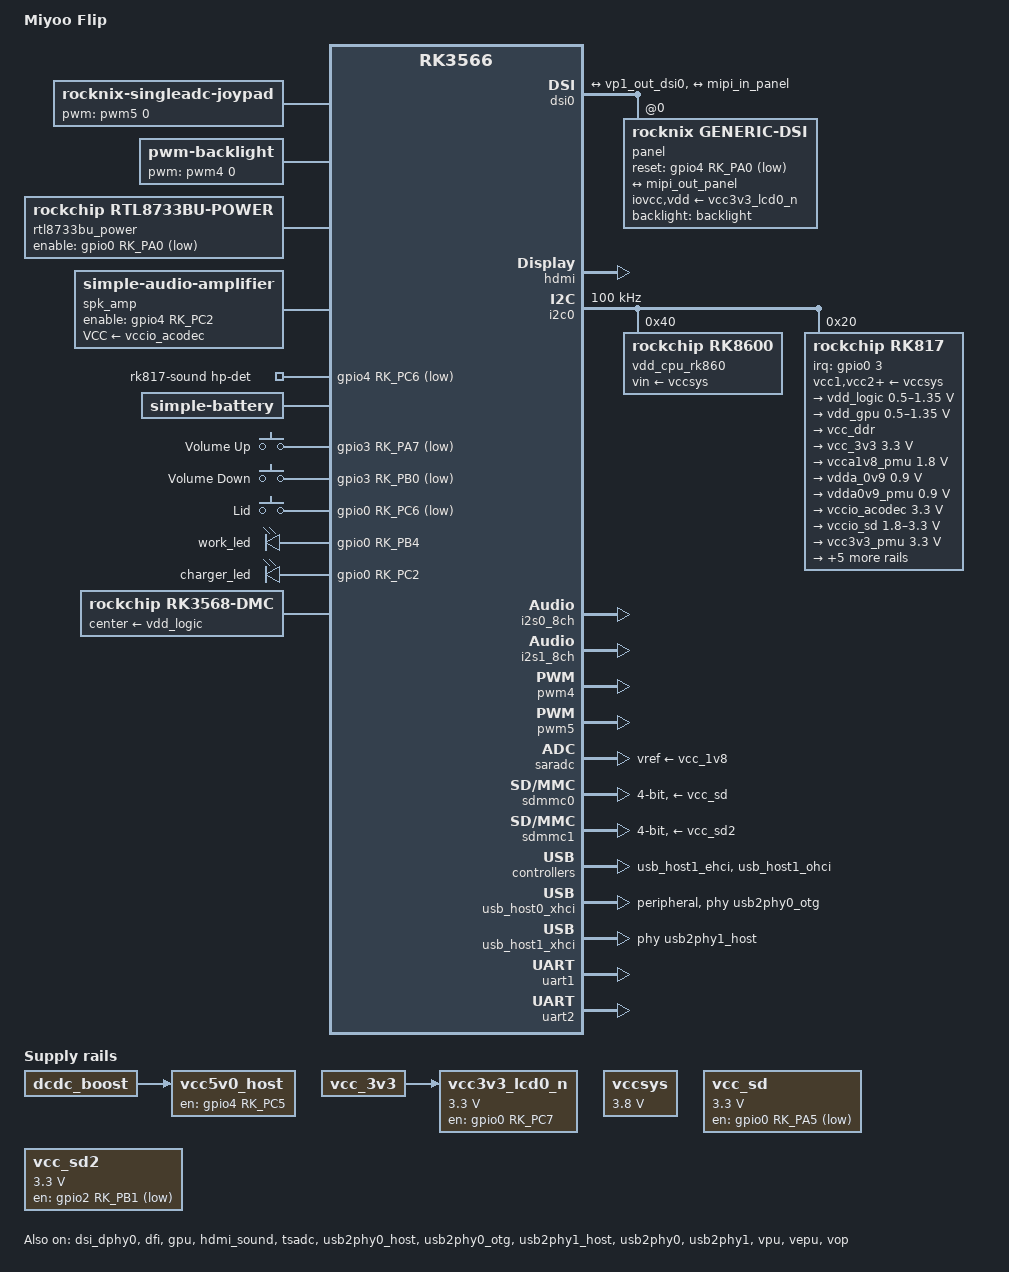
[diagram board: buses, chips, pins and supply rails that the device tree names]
// SPDX-License-Identifier: (GPL-2.0+ OR MIT)
/*
 * Copyright (c) 2020 Rockchip Electronics Co., Ltd.
 * Miyoo Flip (codename miyoo-355) - Mainline Linux device tree
 */
/dts-v1/;

#include <dt-bindings/gpio/gpio.h>
#include <dt-bindings/pinctrl/rockchip.h>
#include <dt-bindings/pwm/pwm.h>
#include <dt-bindings/input/input.h>
#include <dt-bindings/input/linux-event-codes.h>
#include <dt-bindings/interrupt-controller/arm-gic.h>
#include <dt-bindings/interrupt-controller/irq.h>
#include <dt-bindings/soc/rockchip,vop2.h>
#include <dt-bindings/suspend/rockchip-rk3568.h>
#include "rk3566.dtsi"

/ {
	model = "Miyoo Flip";
	chassis-type = "handset";
	compatible = "miyoo,flip", "rockchip,rk3566";

	chosen: chosen {
		stdout-path = "serial2:1500000n8";
	};

	reserved-memory {
		#address-cells = <2>;
		#size-cells = <2>;
		ranges;

		/*
		 * OP-TEE (BL32) resident memory — loaded by TF-A at boot and
		 * stays resident for PSCI deep-sleep suspend/resume.
		 *   TEEOS 2 MB + TA 12 MB + SHM 2 MB = 16 MB total
		 *   Load address 0x08400000 (from rkbin rk3568_bl32_v2.14.bin)
		 *
		 * Without this reservation the kernel overwrites OP-TEE,
		 * crashing immediately after "Starting kernel ...".
		 *
		 * The matching ELF conversion lives in
		 *   devices/RK3566/packages/u-boot-Specific/package.mk
		 */
		optee_reserved: optee@8400000 {
			reg = <0x0 0x08400000 0x0 0x01000000>;
			no-map;
		};
	};

	/* adc-keys DISABLED: volume buttons are on GPIO, not ADC.
	 * The adc-keys driver polls saradc ch0 which is floating on Miyoo Flip,
	 * causing phantom KEY_VOLUMEDOWN and triggering recovery_mode in init.
	 * See sydarn/distribution-rn DTS (reference) which omits adc-keys entirely. */
	adc_keys: adc-keys {
		compatible = "adc-keys";
		io-channels = <&saradc 0>;
		io-channel-names = "buttons";
		keyup-threshold-microvolt = <1800000>;
		poll-interval = <100>;
		status = "disabled";

		vol-up-key {
			label = "volume up";
			linux,code = <KEY_VOLUMEUP>;
			press-threshold-microvolt = <1750>;
		};

		vol-down-key {
			label = "volume down";
			linux,code = <KEY_VOLUMEDOWN>;
			press-threshold-microvolt = <297500>;
		};
	};

/* RetroArch joypad button ID reference:
#define RETRO_DEVICE_ID_JOYPAD_B        0
#define RETRO_DEVICE_ID_JOYPAD_Y        1
#define RETRO_DEVICE_ID_JOYPAD_SELECT   2
#define RETRO_DEVICE_ID_JOYPAD_START    3
#define RETRO_DEVICE_ID_JOYPAD_UP       4
#define RETRO_DEVICE_ID_JOYPAD_DOWN     5
#define RETRO_DEVICE_ID_JOYPAD_LEFT     6
#define RETRO_DEVICE_ID_JOYPAD_RIGHT    7
#define RETRO_DEVICE_ID_JOYPAD_A        8
#define RETRO_DEVICE_ID_JOYPAD_X        9
#define RETRO_DEVICE_ID_JOYPAD_L       10
#define RETRO_DEVICE_ID_JOYPAD_R       11
#define RETRO_DEVICE_ID_JOYPAD_L2      12
#define RETRO_DEVICE_ID_JOYPAD_R2      13
#define RETRO_DEVICE_ID_JOYPAD_L3      14
#define RETRO_DEVICE_ID_JOYPAD_R3      15
*/

	joypad: rocknix-singleadc-joypad {
		compatible = "rocknix-singleadc-joypad";

		joypad-name = "retrogame_joypad";
		joypad-product = <0x1101>;
		joypad-revision = <0x0100>;
		joypad-vendor = <0x484B>;

		status = "okay";

		/* use miyoo serial instead of adc */
		rocknix,use-miyoo-serial-joypad;

		/* rumble motor */
		pwms = <&pwm5 0 10000000 0>;
		pwm-names = "enable";
		rumble-boost-weak = <0x00>;
		rumble-boost-strong = <0x00>;

		/* gpio pincontrol setup */
		pinctrl-names = "default";
		pinctrl-0 = <&btn_pins_ctrl>;

		/* poll device interval (ms), adc read interval */
		poll-interval = <10>;

		sw1 {
			gpios = <&gpio3 RK_PA3 GPIO_ACTIVE_LOW>;
			label = "GPIO DPAD-UP";
			linux,code = <BTN_DPAD_UP>;
		};
		sw2 {
			gpios = <&gpio3 RK_PA4 GPIO_ACTIVE_LOW>;
			label = "GPIO DPAD-DOWN";
			linux,code = <BTN_DPAD_DOWN>;
		};
		sw3 {
			gpios = <&gpio3 RK_PA5 GPIO_ACTIVE_LOW>;
			label = "GPIO DPAD-LEFT";
			linux,code = <BTN_DPAD_LEFT>;
		};
		sw4 {
			gpios = <&gpio3 RK_PA6 GPIO_ACTIVE_LOW>;
			label = "GPIO DPAD-RIGHT";
			linux,code = <BTN_DPAD_RIGHT>;
		};
		sw5 {
			gpios = <&gpio3 RK_PC2 GPIO_ACTIVE_LOW>;
			label = "GPIO KEY BTN-A";
			linux,code = <BTN_SOUTH>;
		};
		sw6 {
			gpios = <&gpio3 RK_PC3 GPIO_ACTIVE_LOW>;
			label = "GPIO BTN-B";
			linux,code = <BTN_EAST>;
		};
		sw7 {
			gpios = <&gpio3 RK_PC1 GPIO_ACTIVE_LOW>;
			label = "GPIO BTN-X";
			linux,code = <BTN_NORTH>;
		};
		sw8 {
			gpios = <&gpio3 RK_PC0 GPIO_ACTIVE_LOW>;
			label = "GPIO BTN-Y";
			linux,code = <BTN_WEST>;
		};
		sw9 {
			gpios = <&gpio3 RK_PB6 GPIO_ACTIVE_LOW>;
			label = "GPIO BTN_SELECT";
			linux,code = <BTN_SELECT>;
		};
		sw10 {
			gpios = <&gpio3 RK_PB5 GPIO_ACTIVE_LOW>;
			label = "GPIO BTN_START";
			linux,code = <BTN_START>;
		};
		sw11 {
			gpios = <&gpio3 RK_PA1 GPIO_ACTIVE_LOW>;
			label = "GPIO BTN_F";
			linux,code = <BTN_MODE>;
		};
		sw12 {
			gpios = <&gpio3 RK_PB1 GPIO_ACTIVE_LOW>;
			label = "GPIO BTN_TL";
			linux,code = <BTN_TL>;
		};
		sw13 {
			gpios = <&gpio3 RK_PB3 GPIO_ACTIVE_LOW>;
			label = "GPIO BTN_TR";
			linux,code = <BTN_TR>;
		};
		sw14 {
			gpios = <&gpio3 RK_PB2 GPIO_ACTIVE_LOW>;
			label = "GPIO BTN_TL2";
			linux,code = <BTN_TL2>;
		};
		sw15 {
			gpios = <&gpio3 RK_PB4 GPIO_ACTIVE_LOW>;
			label = "GPIO BTN_TR2";
			linux,code = <BTN_TR2>;
		};
		sw16 {
			gpios = <&gpio2 RK_PC1 GPIO_ACTIVE_HIGH>;
			label = "GPIO BTN_THUMBL";
			linux,code = <BTN_THUMBL>;
		};
		sw17 {
			gpios = <&gpio2 RK_PC0 GPIO_ACTIVE_HIGH>;
			label = "GPIO BTN_THUMBR";
			linux,code = <BTN_THUMBR>;
		};
	};

	backlight: backlight {
		compatible = "pwm-backlight";
		pwms = <&pwm4 0 1250000 0>;
		brightness-levels = <
			  0  20  20  21  21  22  22  23
			 23  24  24  25  25  26  26  27
			 27  28  28  29  29  30  30  31
			 31  32  32  33  33  34  34  35
			 35  36  36  37  37  38  38  39
			 40  41  42  43  44  45  46  47
			 48  49  50  51  52  53  54  55
			 56  57  58  59  60  61  62  63
			 64  65  66  67  68  69  70  71
			 72  73  74  75  76  77  78  79
			 80  81  82  83  84  85  86  87
			 88  89  90  91  92  93  94  95
			 96  97  98  99 100 101 102 103
			104 105 106 107 108 109 110 111
			112 113 114 115 116 117 118 119
			120 121 122 123 124 125 126 127
			128 129 130 131 132 133 134 135
			136 137 138 139 140 141 142 143
			144 145 146 147 148 149 150 151
			152 153 154 155 156 157 158 159
			160 161 162 163 164 165 166 167
			168 169 170 171 172 173 174 175
			176 177 178 179 180 181 182 183
			184 185 186 187 188 189 190 191
			192 193 194 195 196 197 198 199
			200 201 202 203 204 205 206 207
			208 209 210 211 212 213 214 215
			216 217 218 219 220 221 222 223
			224 225 226 227 228 229 230 231
			232 233 234 235 236 237 238 239
			240 241 242 243 244 245 246 247
			248 249 250 251 252 253 254 255
		>;
		default-brightness-level = <200>;
	};

	/* WiFi/BT power control: RTL8733BU combo chip, USB-attached.
	 * We use the rtl8733bu-power platform driver (see node below) instead of
	 * a regulator-fixed so that power can be cut when WiFi (and BT) are off
	 * via rfkill.  That gives full hardware off and maximum battery saving,
	 * matching stock BSP behaviour.  The regulator approach required
	 * regulator-always-on to avoid the framework disabling the rail and
	 * breaking suspend; with rtl8733bu-power, the driver owns the GPIO and
	 * only cuts power on rfkill block.
	 *
	 * Original regulator node (commented out):
	 * vcc_wifi: vcc-wifi {
	 *	compatible = "regulator-fixed";
	 *	regulator-name = "vcc_wifi";
	 *	regulator-min-microvolt = <3300000>;
	 *	regulator-max-microvolt = <3300000>;
	 *	enable-active-low;
	 *	gpio = <&gpio0 RK_PA0 GPIO_ACTIVE_LOW>;
	 *	pinctrl-names = "default";
	 *	pinctrl-0 = <&wifi_enable_h>;
	 *	regulator-boot-on;
	 *	regulator-always-on;
	 * };
	 */
	rtl8733bu_power: rtl8733bu-power {
		compatible = "rockchip,rtl8733bu-power";
		enable-gpios = <&gpio0 RK_PA0 GPIO_ACTIVE_LOW>;
		pinctrl-names = "default";
		pinctrl-0 = <&wifi_enable_h>;
	};

	/* Speaker amplifier enable: GPIO4_PC2 (same pin as BSP spk-ctl-gpios).
	 * In mainline, use simple-audio-amplifier + aux-devs instead of BSP codec driver GPIO.
	 * VCC-supply powers the amp; vccio_acodec (3.3V) is the audio codec IO supply. */
	spk_amp: audio-amplifier {
		compatible = "simple-audio-amplifier";
		VCC-supply = <&vccio_acodec>;
		enable-gpios = <&gpio4 RK_PC2 GPIO_ACTIVE_HIGH>;
		pinctrl-names = "default";
		pinctrl-0 = <&spk_amp_enable_h>;
		sound-name-prefix = "Speaker Amp";
	};

	rk817-sound {
		compatible = "simple-audio-card";
		pinctrl-0 = <&hp_det>;
		pinctrl-names = "default";
		simple-audio-card,name = "rk817_ext";
		simple-audio-card,format = "i2s";
		simple-audio-card,hp-det-gpios = <&gpio4 RK_PC6 GPIO_ACTIVE_LOW>;
		simple-audio-card,aux-devs = <&spk_amp>;
		simple-audio-card,mclk-fs = <256>;
		simple-audio-card,pin-switches = "Speaker";
		simple-audio-card,widgets =
			"Microphone", "Mic Jack",
			"Headphone", "Headphones",
			"Speaker", "Speaker";
		simple-audio-card,routing =
			"MICL", "Mic Jack",
			"Headphones", "HPOL",
			"Headphones", "HPOR",
			"Speaker Amp INL", "SPKO",
			"Speaker Amp INR", "SPKO",
			"Speaker", "Speaker Amp OUTL",
			"Speaker", "Speaker Amp OUTR";

		simple-audio-card,cpu {
			sound-dai = <&i2s1_8ch>;
		};
		simple-audio-card,codec {
			sound-dai = <&rk817>;
		};
	};

	battery: battery {
		compatible = "simple-battery";
		charge-full-design-microamp-hours = <3000000>;
		charge-term-current-microamp = <300000>;
		constant-charge-current-max-microamp = <2000000>;
		constant-charge-voltage-max-microvolt = <4300000>;
		factory-internal-resistance-micro-ohms = <100000>;
		voltage-max-design-microvolt = <4227000>;
		voltage-min-design-microvolt = <3400000>;

		ocv-capacity-celsius = <20>;
		ocv-capacity-table-0 =  <4227000 100>, <4186000 95>, <3970000 90>, <3920000 85>,
					<3873000 80>, <3836000 75>, <3790000 70>, <3759000 65>,
					<3727000 60>, <3685000 55>, <3655000 50>, <3622000 45>,
					<3585000 40>, <3566000 35>, <3540000 30>, <3516000 25>,
					<3495000 20>, <3470000 15>, <3450000 10>, <3420000 5>,
					<3400000 0>;
	};

	gpio_keys: gpio-keys {
		compatible = "gpio-keys";
		pinctrl-0 = <&btn_pins_vol>, <&gpio_hall_l>;
		pinctrl-names = "default";

		button-volup {
			autorepeat;
			gpios = <&gpio3 RK_PA7 GPIO_ACTIVE_LOW>;
			label = "Volume Up";
			linux,code = <KEY_VOLUMEUP>;
		};

		button-voldown {
			autorepeat;
			gpios = <&gpio3 RK_PB0 GPIO_ACTIVE_LOW>;
			label = "Volume Down";
			linux,code = <KEY_VOLUMEDOWN>;
		};

		lid {
			gpios = <&gpio0 RK_PC6 GPIO_ACTIVE_LOW>;
			label = "Lid";
			linux,input-type = <EV_SW>;
			linux,code = <SW_LID>;
			wakeup-source;
			debounce-interval = <500>;
		};
	};

	leds: leds {
		compatible = "gpio-leds";
		work_led: work {
			gpios = <&gpio0 RK_PB4 GPIO_ACTIVE_HIGH>;
			linux,default-trigger = "default-on";
		};
		charger_led: charger {
			gpios = <&gpio0 RK_PC2 GPIO_ACTIVE_HIGH>;
			linux,default-trigger = "battery-charging";
			retain-state-suspended;
		};
	};

	vccsys: vccsys {
		compatible = "regulator-fixed";
		regulator-name = "vcc3v8_sys";
		regulator-always-on;
		regulator-boot-on;
		regulator-min-microvolt = <3800000>;
		regulator-max-microvolt = <3800000>;
	};

	/* vcc5v0_usb: removed — was an intermediate always-on 5V regulator
	 * between dcdc_boost and vcc5v0_host. Unnecessary on this board;
	 * vcc5v0_host now sources directly from dcdc_boost. */

	/* USB host 5V power: GPIO-controlled via GPIO4_PC5.
	 * Removed always-on/boot-on so this rail powers off during suspend.
	 * vin-supply changed from vcc5v0_usb to dcdc_boost (direct path). */
	vcc5v0_host: vcc5v0-host-regulator {
		compatible = "regulator-fixed";
		regulator-name = "vcc5v0_host";
		enable-active-high;
		gpio = <&gpio4 RK_PC5 GPIO_ACTIVE_HIGH>;	/*USB_HOST_PWREN2_H*/
		vin-supply = <&dcdc_boost>;
		pinctrl-names = "default";
		pinctrl-0 = <&vcc5v0_host_en>;
		regulator-state-mem {
			regulator-off-in-suspend;
		};
	};
	
	/* LCD panel 3.3V power: GPIO-controlled via GPIO0_PC7.
	 * The panel driver requests this regulator on demand via iovcc/vdd supply.
	 * Not always-on so it powers off during suspend. */
	vcc3v3_lcd0_n: vcc3v3-lcd0-n {
		compatible = "regulator-fixed";
		regulator-name = "vcc3v3_lcd0_n";
		regulator-min-microvolt = <3300000>;
		regulator-max-microvolt = <3300000>;
		enable-active-high;
		gpio = <&gpio0 RK_PC7 GPIO_ACTIVE_HIGH>;	/*LCD_PWREN_H*/
		vin-supply = <&vcc_3v3>;

		regulator-state-mem {
			regulator-off-in-suspend;
		};
	};
	
	vcc_sd: vcc-sd {
		compatible = "regulator-fixed";
		enable-active-low;
		enable-gpios = <&gpio0 RK_PA5 GPIO_ACTIVE_LOW>;	/*SDMMC_PWREN_L*/
		regulator-min-microvolt = <3300000>;
		regulator-max-microvolt = <3300000>;
		pinctrl-names = "default";
		pinctrl-0 = <&vcc_sd_h>;
		regulator-name = "vcc_sd";
	};
	
	vcc_sd2: vcc-sd2 {
		compatible = "regulator-fixed";
		enable-active-low;
		enable-gpios = <&gpio2 RK_PB1 GPIO_ACTIVE_LOW>;	/*SDMMC1_PWREN_L*/
		regulator-min-microvolt = <3300000>;
		regulator-max-microvolt = <3300000>;
		pinctrl-names = "default";
		pinctrl-0 = <&vcc_sd2_h>;
		regulator-name = "vcc_sd2";
	};

	/* test-power: stock BSP node for factory testing. Harmless to keep. */
	test-power {
		status = "okay";
	};

	/*
	 * Configure BL31 deep-sleep flags via SIP_SUSPEND_MODE SMC calls.
	 * sleep-mode-config = 0x5ec matches stock firmware:
	 *   CENTER_OFF | ARMOFF_LOGOFF | PMIC_LP | HW_PLLS_OFF |
	 *   PMUALIVE_32K | OSC_DIS | 32K_PVTM
	 */
	rk356x-suspend {
		compatible = "rk356x,pm-config";
		status = "okay";
		rockchip,sleep-debug-en = <0>;
		rockchip,sleep-mode-config = <
			(0
			| RKPM_SLP_CENTER_OFF
			| RKPM_SLP_ARMOFF_LOGOFF
			| RKPM_SLP_PMIC_LP
			| RKPM_SLP_HW_PLLS_OFF
			| RKPM_SLP_PMUALIVE_32K
			| RKPM_SLP_OSC_DIS
			| RKPM_SLP_32K_PVTM
			)
		>;
		rockchip,wakeup-config = <
			(0
			| RKPM_GPIO_WKUP_EN
			)
		>;
	};

	dmc: dmc {
		compatible = "rockchip,rk3568-dmc";
		interrupts = <GIC_SPI 10 IRQ_TYPE_LEVEL_HIGH>;
		interrupt-names = "complete";
		devfreq-events = <&dfi>;
		center-supply = <&vdd_logic>;
		clocks = <&scmi_clk 3>;
		clock-names = "dmc_clk";
		operating-points-v2 = <&dmc_opp_table>;
		status = "okay";
	};

	dmc_opp_table: dmc-opp-table {
		compatible = "operating-points-v2";

		opp-324000000 {
			opp-hz = /bits/ 64 <324000000>;
			opp-microvolt = <900000>;
		};
		opp-528000000 {
			opp-hz = /bits/ 64 <528000000>;
			opp-microvolt = <900000>;
		};
		opp-780000000 {
			opp-hz = /bits/ 64 <780000000>;
			opp-microvolt = <900000>;
		};
		opp-1056000000 {
			opp-hz = /bits/ 64 <1056000000>;
			opp-microvolt = <900000>;
		};
	};
};

&cru {
	assigned-clocks = <&pmucru CLK_RTC_32K>, <&cru PLL_GPLL>,
			  <&pmucru PLL_PPLL>, <&cru PLL_VPLL>;
	assigned-clock-rates = <32768>, <1200000000>,
			       <200000000>, <1200000000>;
};

/* Display pipeline: VP1 -> DSI0 -> panel (MIPI DSI).
 * DPHY0 is required for the DSI link; DPHY1 is unused. */
&dsi_dphy0 {
	status = "okay";
};

&dsi_dphy1 {
	status = "disabled";
};

&vp1 {
	vp1_out_dsi0: endpoint@ROCKCHIP_VOP2_EP_MIPI0 {
		reg = <ROCKCHIP_VOP2_EP_MIPI0>;
		remote-endpoint = <&dsi0_in_vp1>;
	};
};

/* VOP2 -> HDMI pipeline (for HDMI-capable boards or display-subsystem compatibility). */
&hdmi_in {
	hdmi_in_vp0: endpoint {
		remote-endpoint = <&vp0_out_hdmi>;
	};
};

&vp0 {
	vp0_out_hdmi: endpoint@ROCKCHIP_VOP2_EP_HDMI0 {
		reg = <ROCKCHIP_VOP2_EP_HDMI0>;
		remote-endpoint = <&hdmi_in_vp0>;
	};
};

&dfi {
	status = "okay";
};

&cpu0 {
	cpu-supply = <&vdd_cpu_rk860>;
};

&cpu1 {
	cpu-supply = <&vdd_cpu_rk860>;
};

&cpu2 {
	cpu-supply = <&vdd_cpu_rk860>;
};

&cpu3 {
	cpu-supply = <&vdd_cpu_rk860>;
};

&dsi0 {
	status = "okay";
	#address-cells = <1>;
	#size-cells = <0>;

	ports {
		dsi0_in: port@0 {
			reg = <0>;
			dsi0_in_vp1: endpoint {
				remote-endpoint = <&vp1_out_dsi0>;
			};
		};

		dsi0_out: port@1 {
			reg = <1>;
			mipi_out_panel: endpoint {
				remote-endpoint = <&mipi_in_panel>;
			};
		};
	};

	panel: panel@0 {
		compatible = "rocknix,generic-dsi";
		panel_description =
			"G size=68,121 delays=0,160,200,200,20 format=rgb888 lanes=2 flags=0xe03",

			"M clock=34287 horizontal=640,150,130,120 vertical=480,20,38,12 default=1", /* 59.94 Hz (NTSC) */
			"M clock=32010 horizontal=640,150,157,120 vertical=480,20,88,12",        /* 50.00 Hz (PAL) */
			"M clock=32760 horizontal=640,150,140,120 vertical=480,20,8,12",          /* 60.00 Hz */

			"I seq=11 wait=250",
			"I seq=29 wait=32",
			"I seq=b9f11287",
			"I seq=b2780470",
			"I seq=b31010282803ff00000000",
			"I seq=b480",
			"I seq=b50a0a",
			"I seq=b82622f013",
			"I seq=ba318105f90e0e2000000000000000442500910a0000014f01000037",
			"I seq=bc47",
			"I seq=bf0211008004",
			"I seq=c0737350500000127300",
			"I seq=c17300323277f47777ccccffff1111000032",
			"I seq=c710000a0000000000edc500a5",
			"I seq=c810401e03",
			"I seq=cc0b",
			"I seq=e0000509293c3f3b37050a0c10131013121a000509293c3f3b37050a0c10131013121a",
			"I seq=e111119100000000",
			"I seq=e307070b0b0b0b00000000ff04c010",
			"I seq=e9c810020000b0b11131232880b0b127080004020000000004020000008888ba60240888888888888888ba713518888888888800000001000000000000000000",
			"I seq=ea970a820203070000000000008188ba17538888888888888088ba064288888888888823000002a500000000000000000000000000000000000000000000",
			"I seq=efffff01";
		reg = <0>;
		pinctrl-names = "default";
		pinctrl-0 = <&lcd_rst>;
		reset-gpios = <&gpio4 RK_PA0 GPIO_ACTIVE_LOW>;
		backlight = <&backlight>;
		iovcc-supply = <&vcc3v3_lcd0_n>;
		vdd-supply = <&vcc3v3_lcd0_n>;

		port {
			mipi_in_panel: endpoint {
				remote-endpoint = <&mipi_out_panel>;
			};
		};
	};
};

/* GPU: Mali G52 (Panfrost/kbase). mali-supply is the GPU voltage rail. */

&gpu {
	mali-supply = <&vdd_gpu>;
	status = "okay";
};

&hdmi {
	status = "okay";
	avdd-0v9-supply = <&vdda_0v9>;
	avdd-1v8-supply = <&vcc_1v8>;
	rockchip,phy-table =
		<92812500  0x8009 0x0000 0x0270>,
		<165000000 0x800b 0x0000 0x026d>,
		<185625000 0x800b 0x0000 0x01ed>,
		<297000000 0x800b 0x0000 0x01ad>,
		<594000000 0x8029 0x0000 0x0088>,
		<000000000 0x0000 0x0000 0x0000>;
};

&hdmi_sound {
	status = "okay";
};


&i2c0 {
	status = "okay";
	/* 100 kHz Standard mode: minimal PMIC/regulator traffic, saves a little bus power vs 400 kHz; no UX impact. */
	clock-frequency = <100000>;

	/* TCS4525 at 0x1c: not populated on this board revision.
	 * The Miyoo Flip V10 uses an RK8600 at 0x40 for the CPU rail.
	 * Disabled to silence "fan53555-regulator 0-001c: Failed to get chip ID" error. */
	vdd_cpu: tcs4525@1c {
		compatible = "tcs,tcs4525";
		reg = <0x1c>;
		status = "disabled";
	};

    /* CPU rail: fan53555 driver probes this (RK8600 shares code). Must set fcs,suspend-voltage-selector
     * so driver uses correct VSEL; wrong value can drop CPU rail and hang right after "FAN53555 Detected!".
     * See deep-research-report.md. */
    vdd_cpu_rk860: rk8600@40{
        compatible = "rockchip,rk8600";
        reg = <0x40>;
        vin-supply = <&vccsys>;
        regulator-compatible = "rk860x-reg";
        regulator-name = "vdd_cpu";
        regulator-min-microvolt = <712500>;
        regulator-max-microvolt = <1390000>;
        regulator-init-microvolt = <900000>;
        regulator-ramp-delay = <2300>;
        fcs,suspend-voltage-selector = <1>;  /* driver only reads this property name; <1> = safe for RK3566 */
        regulator-boot-on;
        regulator-always-on;
        regulator-state-mem {
            regulator-off-in-suspend;
        };
    };

	rk817: pmic@20 {
		status = "okay";
		compatible = "rockchip,rk817";
		reg = <0x20>;
		interrupt-parent = <&gpio0>;
		interrupts = <3 IRQ_TYPE_LEVEL_LOW>;

		pinctrl-names = "default";
		/* soc_slppin_slp: enables the PMU_SLEEP signal (GPIO0_PA2)
		 * so the SoC tells the RK817 to enter sleep mode during
		 * suspend, applying all regulator-state-mem settings.
		 * Without it, the PMIC stays fully awake during WFI. */
		pinctrl-0 = <&pmic_int>, <&i2s1m0_mclk>, <&soc_slppin_slp>;
		system-power-controller;
		wakeup-source;
		#clock-cells = <1>;
		#sound-dai-cells = <0>;
		clock-output-names = "rk808-clkout1", "rk808-clkout2";
		clock-names = "mclk";
		clocks = <&cru I2S1_MCLKOUT_TX>;
		assigned-clocks = <&cru I2S1_MCLKOUT_TX>;
		assigned-clock-parents = <&cru CLK_I2S1_8CH_TX>;
		assigned-clock-rates = <12288000>;

		vcc1-supply = <&vccsys>;
		vcc2-supply = <&vccsys>;
		vcc3-supply = <&vccsys>;
		vcc4-supply = <&vccsys>;
		vcc5-supply = <&vccsys>;
		vcc6-supply = <&vccsys>;
		vcc7-supply = <&vccsys>;
		vcc8-supply = <&vccsys>;
		/* vcc9 = vccsys to avoid fw_devlink cycle: pmic -> BOOST -> pmic (mainline 6.6+) */
		vcc9-supply = <&vccsys>;

		pwrkey {
			status = "okay";
		};

		regulators {
			vdd_logic: DCDC_REG1 {
				regulator-always-on;
				regulator-boot-on;
				regulator-min-microvolt = <500000>;
				regulator-max-microvolt = <1350000>;
				regulator-init-microvolt = <900000>;
				regulator-ramp-delay = <6001>;
				regulator-initial-mode = <0x2>;
				regulator-name = "vdd_logic";
				/*
				 * vdd_logic off in suspend — matches stock firmware.
				 * The rk356x-suspend driver configures BL31 with
				 * RKPM_SLP_ARMOFF_LOGOFF so TF-A properly
				 * saves/restores the logic domain on resume.
				 */
				regulator-state-mem {
					regulator-off-in-suspend;
				};
			};

			/* GPU suspend/resume: without mali-bifrost 003-fix-unbalanced-runtime-pm-for-rk356x.patch
			 * the Mali driver would call regulator_disable()/clk_disable during suspend, causing
			 * use-count underflow and clock re-enable timeout on resume. The patch lets the power
			 * domain and regulator framework handle the lifecycle. */
			vdd_gpu: DCDC_REG2 {
				regulator-always-on;
				regulator-boot-on;
				regulator-min-microvolt = <500000>;
				regulator-max-microvolt = <1350000>;
				regulator-init-microvolt = <900000>;
				regulator-ramp-delay = <6001>;
				regulator-initial-mode = <0x2>;
				regulator-name = "vdd_gpu";
				regulator-state-mem {
					regulator-off-in-suspend;
				};
			};

			vcc_ddr: DCDC_REG3 {
				regulator-always-on;
				regulator-boot-on;
				regulator-initial-mode = <0x2>;
				regulator-name = "vcc_ddr";
				regulator-state-mem {
					regulator-on-in-suspend;
				};
			};

			vcc_3v3: DCDC_REG4 {
				regulator-always-on;
				regulator-boot-on;
				regulator-min-microvolt = <3300000>;
				regulator-max-microvolt = <3300000>;
				regulator-initial-mode = <0x2>;
				regulator-name = "vcc_3v3";
				/* off-in-suspend: powers off the main 3.3V rail during
				 * deep sleep for maximum battery savings. Confirmed
				 * working — TF-A restores the rail on resume. */
				regulator-state-mem {
					regulator-off-in-suspend;
					regulator-suspend-microvolt = <3300000>;
				};
			};

			vcca1v8_pmu: LDO_REG1 {
				regulator-always-on;
				regulator-boot-on;
				regulator-min-microvolt = <1800000>;
				regulator-max-microvolt = <1800000>;
				regulator-name = "vcca1v8_pmu";
				regulator-state-mem {
					regulator-on-in-suspend;
					regulator-suspend-microvolt = <1800000>;
				};
			};

			vdda_0v9: LDO_REG2 {
				regulator-always-on;
				regulator-boot-on;
				regulator-min-microvolt = <900000>;
				regulator-max-microvolt = <900000>;
				regulator-name = "vdda_0v9";
				regulator-state-mem {
					regulator-off-in-suspend;
				};
			};

			vdda0v9_pmu: LDO_REG3 {
				regulator-always-on;
				regulator-boot-on;
				regulator-min-microvolt = <900000>;
				regulator-max-microvolt = <900000>;
				regulator-name = "vdda0v9_pmu";
				regulator-state-mem {
					regulator-on-in-suspend;
					regulator-suspend-microvolt = <900000>;
				};
			};

			vccio_acodec: LDO_REG4 {
				regulator-always-on;
				regulator-boot-on;
				regulator-min-microvolt = <3300000>;
				regulator-max-microvolt = <3300000>;
				regulator-name = "vccio_acodec";
				regulator-state-mem {
					regulator-off-in-suspend;
				};
			};

			vccio_sd: LDO_REG5 {
				regulator-always-on;
				regulator-boot-on;
				regulator-min-microvolt = <1800000>;
				regulator-max-microvolt = <3300000>;
				regulator-name = "vccio_sd";
				regulator-state-mem {
					regulator-off-in-suspend;
				};
			};

			vcc3v3_pmu: LDO_REG6 {
				regulator-always-on;
				regulator-boot-on;
				regulator-min-microvolt = <3300000>;
				regulator-max-microvolt = <3300000>;
				regulator-name = "vcc3v3_pmu";
				regulator-state-mem {
					regulator-on-in-suspend;
					regulator-suspend-microvolt = <3300000>;
				};
			};

			vcc_1v8: LDO_REG7 {
				regulator-always-on;
				regulator-boot-on;
				regulator-min-microvolt = <1800000>;
				regulator-max-microvolt = <1800000>;
				regulator-name = "vcc_1v8";
				regulator-state-mem {
					regulator-off-in-suspend;
				};
			};

			vcc1v8_dvp: LDO_REG8 {
				regulator-min-microvolt = <1800000>;
				regulator-max-microvolt = <1800000>;
				regulator-name = "vcc1v8_dvp";
				regulator-state-mem {
					regulator-off-in-suspend;
				};
			};

			vcc2v8_dvp: LDO_REG9 {
				regulator-min-microvolt = <2800000>;
				regulator-max-microvolt = <2800000>;
				regulator-name = "vcc2v8_dvp";
				regulator-state-mem {
					regulator-off-in-suspend;
				};
			};

			dcdc_boost: BOOST {
				/* Not always-on: BOOST (5V step-up for USB host power)
				 * must be allowed to power off during suspend. */
				regulator-min-microvolt = <5000000>;
				regulator-max-microvolt = <5000000>;
				regulator-name = "boost";
				regulator-state-mem {
					regulator-off-in-suspend;
				};
			};

			otg_switch: OTG_SWITCH {
				regulator-name = "otg_switch";
				regulator-state-mem {
					regulator-off-in-suspend;
				};
			};
		};

		rk817_charger: charger {
			monitored-battery = <&battery>;
			rockchip,resistor-sense-micro-ohms = <10000>;
			rockchip,sleep-enter-current-microamp = <150000>;
			rockchip,sleep-filter-current-microamp = <100000>;
		};

		/*
		 * Mainline rk817-codec driver reads DT properties from
		 * of_get_child_by_name(dev->parent->of_node, "codec").
		 * No compatible needed; MFD cell matches by platform name.
		 * Clocks/pinctrl come from the PMIC parent node above.
		 */
		codec {
		};
	};
};

/* MUIC (Micro USB Interface Controller) — proprietary "gi,muic" chip for
 * USB cable-type detection (charger vs data vs OTG).  No mainline driver.
 * Basic charge/USB detection works through USB PHY extcon (usb2phy0)
 * without this, so keep i2c3 disabled. */
&i2c3 {
	status = "disabled";
};

&i2s0_8ch {
	status = "okay";
};

&i2s1_8ch {
	status = "okay";
	/* BSP used rockchip,clk-trcm = <1>; mainline property name is different */
	rockchip,trcm-sync-tx-only;
	pinctrl-names = "default";
	pinctrl-0 = <&i2s1m0_sclktx
		     &i2s1m0_lrcktx
		     &i2s1m0_sdi0
		     &i2s1m0_sdo0>;
};

/* IEP (Image Enhancement Processor): hardware deinterlacer/scaler at 0xfdef0000.
 * The BSP uses "rockchip,iep-v2" which requires the proprietary MPP (Media Process
 * Platform) framework — a large set of BSP-only drivers (mpp_service, mpp_dev, etc.)
 * that have no mainline equivalent and cannot be ported as a simple out-of-tree module.
 * IEP shares PD_RGA power domain with RGA (which IS probed), so its power domain
 * is already managed — no battery penalty from leaving it disabled.
 * For retro gaming, IEP's deinterlacing is rarely useful (emulators output progressive).
 *
 * jpegd, jpegd_mmu, mpp_srv, nandc0: also BSP-only, not in mainline rk356x. */

 /*
  * There are 10 independent IO domains in RK3566/RK3568, including PMUIO[0:2] and VCCIO[1:7].
  * 1/ PMUIO0 and PMUIO1 are fixed-level power domains which cannot be configured;
  * 2/ PMUIO2 and VCCIO1,VCCIO[3:7] domains require that their hardware power supply voltages
  *    must be consistent with the software configuration correspondingly
  *	a/ When the hardware IO level is connected to 1.8V, the software voltage configuration
  *	   should also be configured to 1.8V accordingly;
  *	b/ When the hardware IO level is connected to 3.3V, the software voltage configuration
  *	   should also be configured to 3.3V accordingly;
  * 3/ VCCIO2 voltage control selection (0xFDC20140)
  *	BIT[0]: 0x0: from GPIO_0A7 (default)
  *	BIT[0]: 0x1: from GRF
  *    Default is determined by Pin FLASH_VOL_SEL/GPIO0_A7:
  *	L:VCCIO2 must supply 3.3V
  *	H:VCCIO2 must supply 1.8V
  */
&pmu_io_domains {
	status = "okay";
	pmuio2-supply = <&vcc3v3_pmu>;
	vccio1-supply = <&vccio_acodec>;
	vccio3-supply = <&vccio_sd>;
	vccio4-supply = <&vcc_3v3>;
	vccio5-supply = <&vcc_1v8>;
	vccio6-supply = <&vcc_1v8>;
	vccio7-supply = <&vcc_3v3>;
};

&pwm4 {
	status = "okay";
};

&pwm5 {
	status = "okay";
};

/* SARADC: used by joypad driver for analog stick data (ch0).
 * vref-supply sets the ADC reference voltage. */

&saradc {
	status = "okay";
	vref-supply = <&vcc_1v8>;
};

/* sdhci (fc000000): eMMC controller — disabled.
 * The Miyoo Flip has no eMMC; internal storage is SPI-NAND (via SFC).
 * The two SD card slots use sdmmc0 and sdmmc1. */
&sdhci {
	status = "disabled";
};

&sdmmc0 {
	max-frequency = <150000000>;
	no-sdio;
	no-mmc;
	bus-width = <4>;
	cap-sd-highspeed;
	disable-wp;
	sd-uhs-sdr104;
	vmmc-supply = <&vcc_sd>;
	vqmmc-supply = <&vccio_sd>;
	pinctrl-names = "default";
	pinctrl-0 = <&sdmmc0_bus4 &sdmmc0_clk &sdmmc0_cmd &sdmmc0_det>;
	status = "okay";
};

&sdmmc1 {
	max-frequency = <150000000>;
	no-sdio;
	no-mmc;
	bus-width = <4>;
	cap-sd-highspeed;
	disable-wp;
	sd-uhs-sdr104;
	vmmc-supply = <&vcc_sd2>;
	vqmmc-supply = <&vccio_sd>;
	pinctrl-names = "default";
	pinctrl-0 = <&sdmmc1_bus4 &sdmmc1_clk &sdmmc1_cmd &sdmmc1_det>;
	status = "okay";
};

/* SFC: SPI Flash Controller — accesses the internal SPI-NAND (BSP boot media).
 * ROCKNIX boots from SD card, so this is unused at runtime. Kept here
 * (disabled) with the BSP partition layout for reference.
 * Chip is ESMT (0xc8); mainline has no ESMT SPI-NAND table. */
/*
&sfc {
	status = "okay";
	#address-cells = <1>;
	#size-cells = <0>;

	flash@0 {
		compatible = "spi-nand";
		reg = <0>;
		spi-max-frequency = <24000000>;
		spi-rx-bus-width = <1>;
		spi-tx-bus-width = <1>;

		partitions {
			compatible = "fixed-partitions";
			#address-cells = <1>;
			#size-cells = <1>;

			partition@200000 {
				label = "vnvm";
				reg = <0x200000 0x100000>;
			};
			partition@300000 {
				label = "uboot";
				reg = <0x300000 0x400000>;
			};
			partition@700000 {
				label = "boot";
				reg = <0x700000 0x2600000>;
			};
			partition@2d00000 {
				label = "rootfs";
				reg = <0x2d00000 0x4000000>;
			};
			partition@6d00000 {
				label = "userdata";
				reg = <0x6d00000 0x1260000>;
			};
		};
	};
};
*/

&tsadc {
	status = "okay";
	/* CRU mode (0): thermal shutdown resets via clock unit — no dedicated GPIO needed.
	 * GPIO mode (1) would require a board-specific thermal shutdown pin.
	 * Polarity 0 = active-low (matches Rockchip reference designs). */
	rockchip,hw-tshut-mode = <0>;
	rockchip,hw-tshut-polarity = <0>;
};

/* combphy1/combphy2: combo PHYs for USB3/SATA/PCIe.
 * Nothing on the Miyoo Flip uses USB3, SATA, or PCIe.
 * WiFi is USB2 (EHCI), and usb_host1_xhci is overridden to USB2-only below.
 * Disabling combphys allows PD_PIPE power domain to gate — saves power. */
&combphy1 {
	status = "disabled";
};

&combphy2 {
	status = "disabled";
};

&usb2phy0_host {
	phy-supply = <&vcc5v0_host>;
	status = "okay";
};

&usb2phy0_otg {
	status = "okay";
};

&usb2phy1_host {
	phy-supply = <&vcc5v0_host>;
	status = "okay";
};

/* usb2phy1_otg: PHY for usb_host0_ehci/ohci (fd800000) which is disabled.
 * No need to power this PHY. Maxwell doesn't define it at all. */
&usb2phy1_otg {
	status = "disabled";
};

&usb2phy0 {
	status = "okay";
};

&usb2phy1 {
	status = "okay";
};

/* usb_host0_ehci/ohci (fd800000/fd840000): USB2 host via usb2phy1_otg.
 * This is a separate USB2 port from the OTG (usb_host0_xhci/usb2phy0_otg)
 * and from the host port where WiFi lives (usb_host1_ehci/usb2phy1_host).
 * Nothing is physically routed to this port on the Miyoo Flip PCB.
 * Disabled to save power — re-enable if a USB device is found on this port. */
&usb_host0_ehci {
	status = "disabled";
};

&usb_host0_ohci {
	status = "disabled";
};

&usb_host1_ehci {
	status = "okay";
};

&usb_host1_ohci {
	status = "okay";
};

/* USB topology:
 *   usb_host0_xhci (fcc00000) = OTG port — peripheral mode (charging/gadget)
 *   usb_host1_xhci (fd000000) = Host port — USB2-only (WiFi chip via EHCI)
 *   usb_host0_ehci/ohci (fd800000) = unused USB2 port — disabled
 *   usb_host1_ehci/ohci (fd880000) = WiFi USB2 host — enabled
 *
 * No USB3 signals are routed on this board; combphy1/2 are disabled.
 * usb_host1_xhci is overridden to USB2-only to avoid DWC3 init failure. */

/* OTG port: peripheral-only mode (charging + USB gadget).
 * Disabling host-side hardware saves power when nothing is plugged in. */
&usb_host0_xhci {
	status = "okay";
	dr_mode = "peripheral";
	phys = <&usb2phy0_otg>;
	phy-names = "usb2-phy";
};

&usb_host1_xhci {
	status = "okay";
	phys = <&usb2phy1_host>;
	phy-names = "usb2-phy";
	maximum-speed = "high-speed";
};

/* VPU (video decoder), VEPU (H.264 encoder), RGA (2D blitter):
 * All use mainline drivers with runtime PM — power domains gate when idle. */
&vpu {
	status = "okay";
};

&vdpu_mmu {
	status = "okay";
};

&vepu {
	status = "okay";
};

&vepu_mmu {
	status = "okay";
};

/* VOP2: display controller. Must be enabled for DRM to bind.
 * Clock parents: DCLK_VOP0 -> HPLL, DCLK_VOP1 -> VPLL. */
&vop {
	status = "okay";
	assigned-clocks = <&cru DCLK_VOP0>, <&cru DCLK_VOP1>;
	assigned-clock-parents = <&pmucru PLL_HPLL>, <&cru PLL_VPLL>;
};

&vop_mmu {
	status = "okay";
};

/* uart1: used by rocknix-singleadc-joypad Miyoo serial protocol.
 * The driver opens /dev/ttyS1 at 9600 8N1 for analog stick calibration.
 * Must remain enabled — disabling it causes Auto-cal read error: -5. */
&uart1 {
	status = "okay";
	dma-names = "tx", "rx";
	pinctrl-names = "default";
	pinctrl-0 = <&uart1m0_xfer &uart1m0_ctsn>;
};

/* Re-enable for serial console debugging. Disable to save power. */
&uart2 {
	status = "okay";
};

&pinctrl {

	gpio-control {
		btn_pins_ctrl: btn-pins-ctrl {
			rockchip,pins =
				<2 RK_PC0 RK_FUNC_GPIO &pcfg_pull_down>,
				<2 RK_PC1 RK_FUNC_GPIO &pcfg_pull_down>,
				<3 RK_PA1 RK_FUNC_GPIO &pcfg_pull_up>,
				<3 RK_PA3 RK_FUNC_GPIO &pcfg_pull_up>,
				<3 RK_PA4 RK_FUNC_GPIO &pcfg_pull_up>,
				<3 RK_PA5 RK_FUNC_GPIO &pcfg_pull_up>,
				<3 RK_PA6 RK_FUNC_GPIO &pcfg_pull_up>,
				<3 RK_PB1 RK_FUNC_GPIO &pcfg_pull_up>,
				<3 RK_PB2 RK_FUNC_GPIO &pcfg_pull_up>,
				<3 RK_PB3 RK_FUNC_GPIO &pcfg_pull_up>,
				<3 RK_PB4 RK_FUNC_GPIO &pcfg_pull_up>,
				<3 RK_PB5 RK_FUNC_GPIO &pcfg_pull_up>,
				<3 RK_PB6 RK_FUNC_GPIO &pcfg_pull_up>,
				<3 RK_PC0 RK_FUNC_GPIO &pcfg_pull_up>,
				<3 RK_PC1 RK_FUNC_GPIO &pcfg_pull_up>,
				<3 RK_PC2 RK_FUNC_GPIO &pcfg_pull_up>,
				<3 RK_PC3 RK_FUNC_GPIO &pcfg_pull_up>;
		};

		btn_pins_vol: btn-pins-vol {
			rockchip,pins =
				<3 RK_PA7 RK_FUNC_GPIO &pcfg_pull_up>,
				<3 RK_PB0 RK_FUNC_GPIO &pcfg_pull_up>;
		};
	};

	audio-amplifier {
		spk_amp_enable_h: spk-amp-enable-h {
			rockchip,pins =
				<4 RK_PC2 RK_FUNC_GPIO &pcfg_pull_none>;
		};
	};

	headphone {
		hp_det: hp-det {
			rockchip,pins = <4 RK_PC6 RK_FUNC_GPIO &pcfg_pull_down>;
		};
	};

	gpio-lcd {
		lcd_rst: lcd-rst {
			rockchip,pins =
				<4 RK_PA0 RK_FUNC_GPIO &pcfg_pull_none>;
		};
	};

	gpio-hall {
		gpio_hall_l: gpio-hall-l {
			rockchip,pins = <0 RK_PC6 RK_FUNC_GPIO &pcfg_pull_up>;
		};
	};

	wireless-wlan {
		wifi_enable_h: wifi-enable-h {
			rockchip,pins =
				<0 RK_PA0 RK_FUNC_GPIO &pcfg_pull_none>;
		};
	};

	pmic {
		pmic_int: pmic_int {
			rockchip,pins =
				<0 RK_PA3 RK_FUNC_GPIO &pcfg_pull_up>;
		};

		/* SoC-side PMIC SLP pin (GPIO0_PA2) configurations.
		 * Mux function 1 = PMU_SLEEP: the SoC's PMU hardware
		 * drives this pin automatically during deep sleep to
		 * signal the RK817 PMIC to enter its sleep state
		 * (applying all regulator-state-mem settings). */
		soc_slppin_slp: soc-slppin-slp {
			rockchip,pins = <0 RK_PA2 1 &pcfg_pull_none>;
		};

		soc_slppin_gpio: soc-slppin-gpio {
			rockchip,pins = <0 RK_PA2 RK_FUNC_GPIO &pcfg_output_low>;
		};
	};

	usb {
		vcc5v0_host_en: vcc5v0-host-en {
			rockchip,pins = <4 RK_PC5 RK_FUNC_GPIO &pcfg_pull_none>;
		};

	};

	vcc-sd {
		vcc_sd_h: vcc-sd-h {
			rockchip,pins = <0 RK_PA5 RK_FUNC_GPIO &pcfg_pull_down>;
		};
		vcc_sd2_h: vcc-sd2-h {
			rockchip,pins = <2 RK_PB1 RK_FUNC_GPIO &pcfg_pull_down>;
		};		
	};

};
